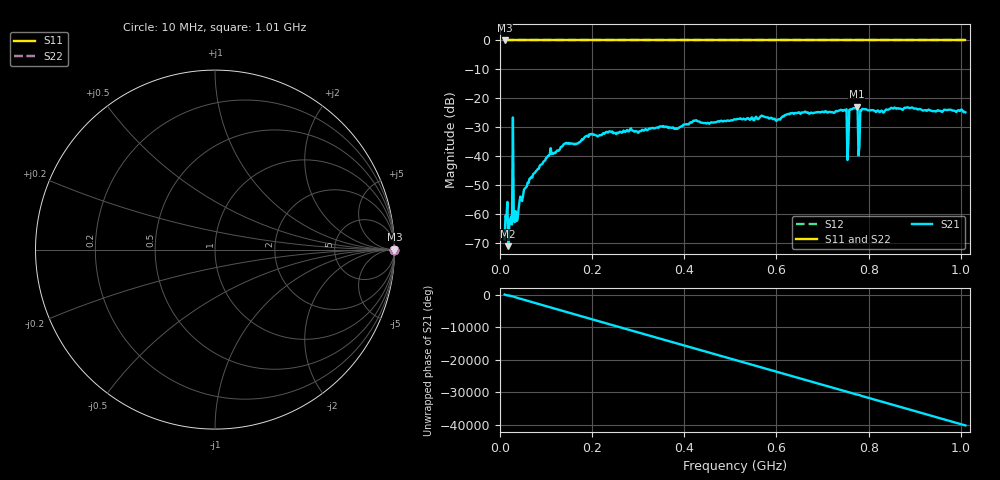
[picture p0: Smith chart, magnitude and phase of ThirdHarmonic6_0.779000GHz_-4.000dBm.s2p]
! 8/16/2025 2:00:03 AM
! C:\ANRITSUVNA\TEMP\TEMP.S2P
! CHANNEL.1
! TR.MEASUREMENT
! RAW.DATA
! RF.CORRECTION.OFF
! AVERAGING.OFF
! IF.BANDWIDTH: 5KHZ
! SWEEPTYPE:  FREQ.SWEEP(Linear)
! Reference Plane Port Info
! PORT:  PORT1  PORT2
! DISTANCE:  0  m  0  m
! TIME:  0  s  0  s
! PHASE.OFFSET:  0  deg.  0  deg.
! LOSS:  0  dB  0  dB
! REF.LOSS:  0  dB  0  dB
! REF.FREQ:  0  Hz  0  Hz
! Power Info
! POWER:  -20  dBm  -20  dBm
! EFF.POWER:  -20  dBm  -20  dBm
! SOURCE.ATTEN:  0  dB  0  dB
! TEST.ATTEN:  0  dB  0  dB
# GHZ S RI R 50.0
! FREQ.GHZ  S11RE  S11IM  S21RE  S21IM  S12RE  S12IM  S22RE  S22IM
!; PortSelection: Port_12
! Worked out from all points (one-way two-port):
!   501 points, 10 MHz to 1.01 GHz, reference 50 ohm
!   highest |S21| = -22.87 dB at 774 MHz (marker M1); lowest = -71.0 dB at 18 MHz (marker M2)
!   lowest |S11| = 0.0 dB at 10 MHz (marker M3)
!   |S11| at or under -10 dB: nowhere
!   |S22| runs from 0.0 to 0.0 dB; largest |S21 - S12| = 1.1
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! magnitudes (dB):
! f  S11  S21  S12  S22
! 10 MHz  0.0  -68.7  0.0  0.0
! 18 MHz  0.0  -71.0  0.0  0.0
! 22 MHz  0.0  -61.9  0.0  0.0
! 24 MHz  0.0  -60.8  0.0  0.0
! 32 MHz  0.0  -62.8  0.0  0.0
! 34 MHz  0.0  -58.9  0.0  0.0
! 56 MHz  0.0  -50.8  0.0  0.0
! 106 MHz  0.0  -39.9  0.0  0.0
! 178 MHz  0.0  -34.1  0.0  0.0
! 344 MHz  0.0  -30.2  0.0  0.0
! 510 MHz  0.0  -27.2  0.0  0.0
! 678 MHz  0.0  -25.1  0.0  0.0
! 748 MHz  0.0  -24.0  0.0  0.0
! 752 MHz  0.0  -23.8  0.0  0.0
! 758 MHz  0.0  -24.0  0.0  0.0
! 762 MHz  0.0  -23.7  0.0  0.0
! 772 MHz  0.0  -23.5  0.0  0.0
! 774 MHz  0.0  -22.9  0.0  0.0
! 782 MHz  0.0  -24.1  0.0  0.0
! 786 MHz  0.0  -23.6  0.0  0.0
! 844 MHz  0.0  -23.8  0.0  0.0
! 1.01 GHz  0.0  -24.8  0.0  0.0
